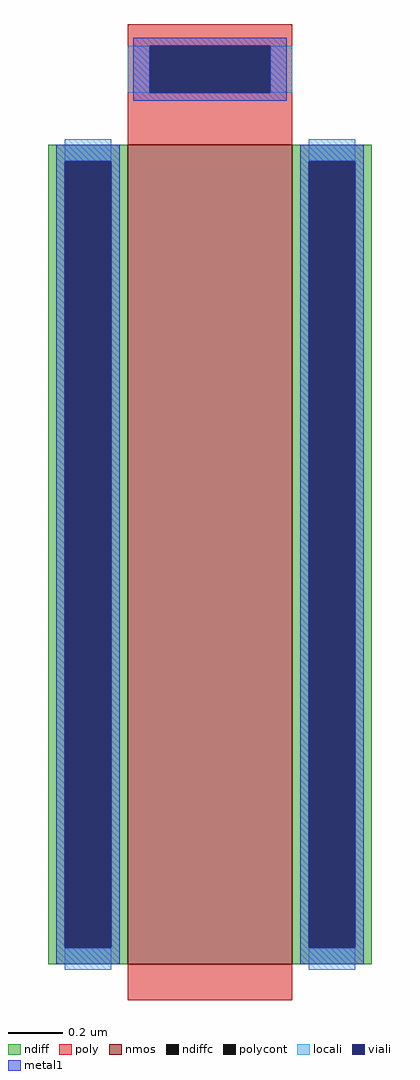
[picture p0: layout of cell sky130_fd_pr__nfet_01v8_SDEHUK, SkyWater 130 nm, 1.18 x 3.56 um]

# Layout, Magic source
magic
tech sky130A
<< nmos >>
rect -30 -165 30 134
<< ndiff >>
rect -59 128 -30 134
rect -59 -159 -53 128
rect -36 -159 -30 128
rect -59 -165 -30 -159
rect 30 128 59 134
rect 30 -159 36 128
rect 53 -159 59 128
rect 30 -165 59 -159
<< ndiffc >>
rect -53 -159 -36 128
rect 36 -159 53 128
<< poly >>
rect -30 170 30 178
rect -30 153 -22 170
rect 22 153 30 170
rect -30 134 30 153
rect -30 -178 30 -165
<< polycont >>
rect -22 153 22 170
<< locali >>
rect -30 153 -22 170
rect 22 153 30 170
rect -53 128 -36 136
rect -53 -167 -36 -159
rect 36 128 53 136
rect 36 -167 53 -159
<< viali >>
rect -22 153 22 170
rect -53 -159 -36 128
rect 36 -159 53 128
<< metal1 >>
rect -28 170 28 173
rect -28 153 -22 170
rect 22 153 28 170
rect -28 150 28 153
rect -56 128 -33 134
rect -56 -159 -53 128
rect -36 -159 -33 128
rect -56 -165 -33 -159
rect 33 128 56 134
rect 33 -159 36 128
rect 53 -159 56 128
rect 33 -165 56 -159
<< properties >>
string gencell sky130_fd_pr__nfet_01v8
string library sky130
string parameters w 3.0 l 0.6 m 1 nf 1 diffcov 100 polycov 100 guard 0 glc 0 grc 0 gtc 0 gbc 0 tbcov 100 rlcov 100 topc 1 botc 0 poverlap 0 doverlap 1 lmin 0.15 wmin 0.42 compatible {sky130_fd_pr__nfet_01v8 sky130_fd_pr__nfet_01v8_lvt  sky130_fd_bs_flash__special_sonosfet_star  sky130_fd_pr__nfet_g5v0d10v5 sky130_fd_pr__nfet_05v0_nvt  sky130_fd_pr__nfet_03v3_nvt} full_metal 0 viasrc 100 viadrn 100 viagate 100 viagb 0 viagr 0 viagl 0 viagt 0
<< end >>
